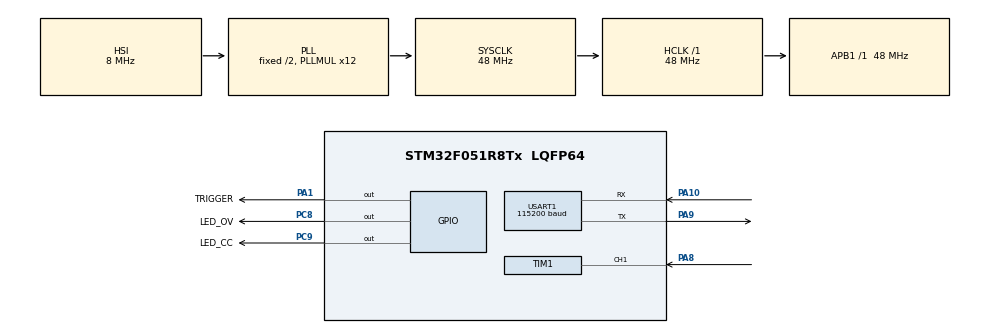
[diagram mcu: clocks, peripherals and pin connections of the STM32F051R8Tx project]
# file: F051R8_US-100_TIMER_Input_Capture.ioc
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Mcu.Family=STM32F0
PA10.Mode=Asynchronous
PC9.GPIO_Label=LED_CC
USART1.BaudRate=115200
PA14.GPIO_Label=SWCLK
PC8.Signal=GPIO_Output
RCC.SYSCLKSource=RCC_SYSCLKSOURCE_PLLCLK
ProjectManager.StackSize=0x400
PC8.GPIO_Label=LED_OV
USART1.VirtualMode-Asynchronous=VM_ASYNC
PA13.Signal=SYS_SWDIO
PA9.Mode=Asynchronous
SH.S_TIM1_CH1.0=TIM1_CH1,Input_Capture1_from_TI1
ProjectManager.TargetToolchain=STM32CubeIDE
RCC.HCLKFreq_Value=48000000
PA9.Signal=USART1_TX
PA1.Signal=GPIO_Output
RCC.AHBFreq_Value=48000000
board=STM32F0DISCOVERY
RCC.PLLMUL=RCC_PLL_MUL12
PA14.Mode=Serial_Wire
PA1.GPIO_Label=TRIGGER
PA8.Signal=S_TIM1_CH1
PA13.Mode=Serial_Wire
Mcu.Name=STM32F051R8Tx
VP_TIM1_VS_ClockSourceINT.Mode=Internal
PA13.GPIO_Label=SWDIO
NVIC.TIM1_CC_IRQn=true\:0\:0\:false\:false\:true\:true\:true
RCC.SYSCLKFreq_VALUE=48000000
Mcu.Package=LQFP64
TIM1.Channel-Input_Capture1_from_TI1=TIM_CHANNEL_1
PA10.Signal=USART1_RX
PA14.Signal=SYS_SWCLK
ProjectManager.HeapSize=0x200
RCC.APB1TimFreq_Value=48000000
PC9.Signal=GPIO_Output
RCC.APB1Freq_Value=48000000
NVIC.TIM1_BRK_UP_TRG_COM_IRQn=true\:0\:0\:false\:false\:true\:true\:true

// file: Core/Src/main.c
/* USER CODE BEGIN Header */
/**
 ******************************************************************************
 * @file           : main.c
 * @brief          : Main program body
 ******************************************************************************
 * @attention
 *
 * <h2><center>&copy; Copyright (c) 2021 STMicroelectronics.
 * All rights reserved.</center></h2>
 *
 * This software component is licensed by ST under BSD 3-Clause license,
 * the "License"; You may not use this file except in compliance with the
 * License. You may obtain a copy of the License at:
 *                        opensource.org/licenses/BSD-3-Clause
 *
 ******************************************************************************
 */
/* USER CODE END Header */
#include "main.h"

/* USER CODE BEGIN Includes */
#include <stdio.h>
/* USER CODE END Includes */

/* USER CODE BEGIN PD */
#define TERMINAL  &huart1
/* USER CODE END PD */

TIM_HandleTypeDef htim1;

UART_HandleTypeDef huart1;

/* USER CODE BEGIN PV */
enum {
  IDLE, WAIT, CALC
};
int state = IDLE;
int try = 0;
uint32_t T1 = 0;
uint32_t T2 = 0;
uint32_t overflow = 0;
uint32_t period = 0;
uint32_t counter = 0;
uint32_t distance = 0;
char edge = 1; // raising
/* USER CODE END PV */

void SystemClock_Config(void);
static void MX_GPIO_Init(void);
static void MX_TIM1_Init(void);
static void MX_USART1_UART_Init(void);

/* USER CODE BEGIN 0 */
int _read(int file, char *ptr, int len) {
  HAL_StatusTypeDef hstatus;
  hstatus = HAL_UART_Receive(TERMINAL, (uint8_t*) ptr, 1, HAL_MAX_DELAY);
  if (hstatus == HAL_OK)
    return 1;
  else
    return 0;
}

int _write(int file, char *ptr, int len) {
  HAL_StatusTypeDef hstatus;
  hstatus = HAL_UART_Transmit(TERMINAL, (uint8_t*) ptr, len, HAL_MAX_DELAY);
  if (hstatus == HAL_OK)
    return len;
  else
    return 0;
}

void HAL_TIM_IC_CaptureCallback(TIM_HandleTypeDef *htim) {
  if (state == WAIT) {
    if (edge) {
      T1 = HAL_TIM_ReadCapturedValue(&htim1, TIM_CHANNEL_1);
      __HAL_TIM_SET_CAPTUREPOLARITY(&htim1, TIM_CHANNEL_1,
          TIM_INPUTCHANNELPOLARITY_FALLING);
      overflow = 0; // start check if timer is overflow
    } else {
      T2 = HAL_TIM_ReadCapturedValue(&htim1, TIM_CHANNEL_1);
      __HAL_TIM_SET_CAPTUREPOLARITY(&htim1, TIM_CHANNEL_1,
          TIM_INPUTCHANNELPOLARITY_RISING);
      state = CALC;
    }
    edge = !edge;
  }
  HAL_GPIO_TogglePin(LED_CC_GPIO_Port, LED_CC_Pin);
}

void HAL_TIM_PeriodElapsedCallback(TIM_HandleTypeDef *htim) {
  if (state == WAIT) {
    overflow++;
  }
  HAL_GPIO_TogglePin(LED_OV_GPIO_Port, LED_OV_Pin);
}
/* USER CODE END 0 */

int main(void)
{

  /* MCU Configuration--------------------------------------------------------*/

  /* Reset of all peripherals, Initializes the Flash interface and the Systick. */
  HAL_Init();

  /* Configure the system clock */
  SystemClock_Config();

  /* Initialize all configured peripherals */
  MX_GPIO_Init();
  MX_TIM1_Init();
  MX_USART1_UART_Init();

  /* Infinite loop */
  /* USER CODE BEGIN WHILE */
  printf("US-100 Pulse Mode\r\n");
  printf("Captured by Timer Input Capture mode\r\n");
  period = __HAL_TIM_GET_AUTORELOAD(&htim1);
  printf("period = %lu\r\n", period);
  printf("SystemCoreClock = %lu\r\n", SystemCoreClock);

  HAL_TIM_Base_Start_IT(&htim1); // to get PeriodElapsedCallback
  HAL_TIM_IC_Start_IT(&htim1, TIM_CHANNEL_1); // to get IC_CaptureCallback
  while (1) {
    if (state == IDLE) {
      printf("I\t");
      HAL_GPIO_WritePin(TRIGGER_GPIO_Port, TRIGGER_Pin, GPIO_PIN_SET);
      HAL_Delay(1);
      HAL_GPIO_WritePin(TRIGGER_GPIO_Port, TRIGGER_Pin, GPIO_PIN_RESET);
      // change state
      state = WAIT;
      try = 0;
    } else if (state == CALC) {
      // check overflow
      T2 += overflow * period;
      counter = T2 - T1;
      printf("T =  %lu ~ %lu us\t", counter, counter * 1000 / 48000);
      // calc. distance
      distance = counter * 1657;
      distance /= (SystemCoreClock/100); // overflow if use * 165700 / SystemCoreClock
      printf("D = %lu mm\r\n", distance);
      // change state
      state = IDLE;
      try = 0;
    }

    HAL_Delay(100);
    if (++try > 10) {
      state = IDLE;
    }
    /* USER CODE END WHILE */

  }
}

void SystemClock_Config(void)
{
  RCC_OscInitTypeDef RCC_OscInitStruct = {0};
  RCC_ClkInitTypeDef RCC_ClkInitStruct = {0};
  RCC_PeriphCLKInitTypeDef PeriphClkInit = {0};

  /** Initializes the RCC Oscillators according to the specified parameters
  * in the RCC_OscInitTypeDef structure.
  */
  RCC_OscInitStruct.OscillatorType = RCC_OSCILLATORTYPE_HSI;
  RCC_OscInitStruct.HSIState = RCC_HSI_ON;
  RCC_OscInitStruct.HSICalibrationValue = RCC_HSICALIBRATION_DEFAULT;
  RCC_OscInitStruct.PLL.PLLState = RCC_PLL_ON;
  RCC_OscInitStruct.PLL.PLLSource = RCC_PLLSOURCE_HSI;
  RCC_OscInitStruct.PLL.PLLMUL = RCC_PLL_MUL12;
  RCC_OscInitStruct.PLL.PREDIV = RCC_PREDIV_DIV1;
  if (HAL_RCC_OscConfig(&RCC_OscInitStruct) != HAL_OK)
  {
    Error_Handler();
  }
  /** Initializes the CPU, AHB and APB buses clocks
  */
  RCC_ClkInitStruct.ClockType = RCC_CLOCKTYPE_HCLK|RCC_CLOCKTYPE_SYSCLK
                              |RCC_CLOCKTYPE_PCLK1;
  RCC_ClkInitStruct.SYSCLKSource = RCC_SYSCLKSOURCE_PLLCLK;
  RCC_ClkInitStruct.AHBCLKDivider = RCC_SYSCLK_DIV1;
  RCC_ClkInitStruct.APB1CLKDivider = RCC_HCLK_DIV1;

  if (HAL_RCC_ClockConfig(&RCC_ClkInitStruct, FLASH_LATENCY_1) != HAL_OK)
  {
    Error_Handler();
  }
  PeriphClkInit.PeriphClockSelection = RCC_PERIPHCLK_USART1;
  PeriphClkInit.Usart1ClockSelection = RCC_USART1CLKSOURCE_PCLK1;
  if (HAL_RCCEx_PeriphCLKConfig(&PeriphClkInit) != HAL_OK)
  {
    Error_Handler();
  }
}

static void MX_TIM1_Init(void)
{

  TIM_ClockConfigTypeDef sClockSourceConfig = {0};
  TIM_MasterConfigTypeDef sMasterConfig = {0};
  TIM_IC_InitTypeDef sConfigIC = {0};

  htim1.Instance = TIM1;
  htim1.Init.Prescaler = 0;
  htim1.Init.CounterMode = TIM_COUNTERMODE_UP;
  htim1.Init.Period = 65535;
  htim1.Init.ClockDivision = TIM_CLOCKDIVISION_DIV1;
  htim1.Init.RepetitionCounter = 0;
  htim1.Init.AutoReloadPreload = TIM_AUTORELOAD_PRELOAD_DISABLE;
  if (HAL_TIM_Base_Init(&htim1) != HAL_OK)
  {
    Error_Handler();
  }
  sClockSourceConfig.ClockSource = TIM_CLOCKSOURCE_INTERNAL;
  if (HAL_TIM_ConfigClockSource(&htim1, &sClockSourceConfig) != HAL_OK)
  {
    Error_Handler();
  }
  if (HAL_TIM_IC_Init(&htim1) != HAL_OK)
  {
    Error_Handler();
  }
  sMasterConfig.MasterOutputTrigger = TIM_TRGO_RESET;
  sMasterConfig.MasterSlaveMode = TIM_MASTERSLAVEMODE_DISABLE;
  if (HAL_TIMEx_MasterConfigSynchronization(&htim1, &sMasterConfig) != HAL_OK)
  {
    Error_Handler();
  }
  sConfigIC.ICPolarity = TIM_INPUTCHANNELPOLARITY_RISING;
  sConfigIC.ICSelection = TIM_ICSELECTION_DIRECTTI;
  sConfigIC.ICPrescaler = TIM_ICPSC_DIV1;
  sConfigIC.ICFilter = 0;
  if (HAL_TIM_IC_ConfigChannel(&htim1, &sConfigIC, TIM_CHANNEL_1) != HAL_OK)
  {
    Error_Handler();
  }

}

static void MX_USART1_UART_Init(void)
{

  huart1.Instance = USART1;
  huart1.Init.BaudRate = 115200;
  huart1.Init.WordLength = UART_WORDLENGTH_8B;
  huart1.Init.StopBits = UART_STOPBITS_1;
  huart1.Init.Parity = UART_PARITY_NONE;
  huart1.Init.Mode = UART_MODE_TX_RX;
  huart1.Init.HwFlowCtl = UART_HWCONTROL_NONE;
  huart1.Init.OverSampling = UART_OVERSAMPLING_16;
  huart1.Init.OneBitSampling = UART_ONE_BIT_SAMPLE_DISABLE;
  huart1.AdvancedInit.AdvFeatureInit = UART_ADVFEATURE_NO_INIT;
  if (HAL_UART_Init(&huart1) != HAL_OK)
  {
    Error_Handler();
  }

}

static void MX_GPIO_Init(void)
{
  GPIO_InitTypeDef GPIO_InitStruct = {0};

  /* GPIO Ports Clock Enable */
  __HAL_RCC_GPIOA_CLK_ENABLE();
  __HAL_RCC_GPIOC_CLK_ENABLE();

  /*Configure GPIO pin Output Level */
  HAL_GPIO_WritePin(TRIGGER_GPIO_Port, TRIGGER_Pin, GPIO_PIN_RESET);

  /*Configure GPIO pin Output Level */
  HAL_GPIO_WritePin(GPIOC, LED_OV_Pin|LED_CC_Pin, GPIO_PIN_RESET);

  /*Configure GPIO pin : TRIGGER_Pin */
  GPIO_InitStruct.Pin = TRIGGER_Pin;
  GPIO_InitStruct.Mode = GPIO_MODE_OUTPUT_PP;
  GPIO_InitStruct.Pull = GPIO_NOPULL;
  GPIO_InitStruct.Speed = GPIO_SPEED_FREQ_LOW;
  HAL_GPIO_Init(TRIGGER_GPIO_Port, &GPIO_InitStruct);

  /*Configure GPIO pins : LED_OV_Pin LED_CC_Pin */
  GPIO_InitStruct.Pin = LED_OV_Pin|LED_CC_Pin;
  GPIO_InitStruct.Mode = GPIO_MODE_OUTPUT_PP;
  GPIO_InitStruct.Pull = GPIO_NOPULL;
  GPIO_InitStruct.Speed = GPIO_SPEED_FREQ_LOW;
  HAL_GPIO_Init(GPIOC, &GPIO_InitStruct);

}

void Error_Handler(void)
{
  __disable_irq();
  while (1) {
  }
}

/************************ (C) COPYRIGHT STMicroelectronics *****END OF FILE****/
